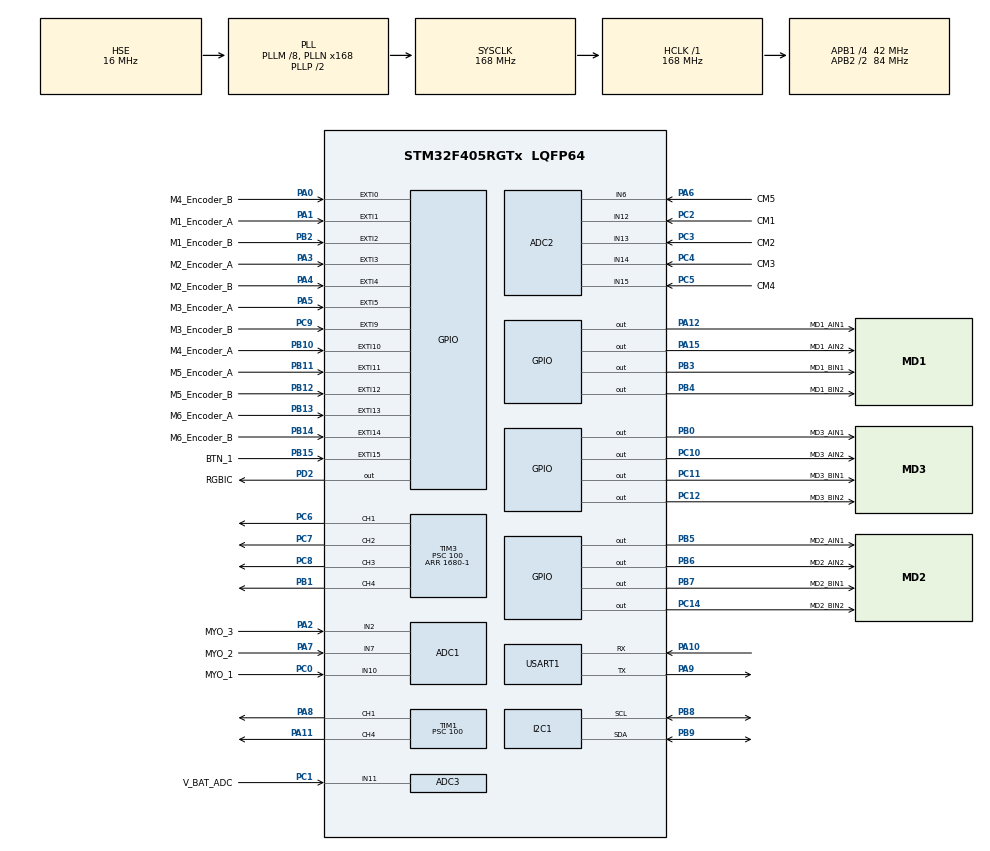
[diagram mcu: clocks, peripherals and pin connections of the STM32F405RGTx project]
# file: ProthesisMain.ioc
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ADC1.Channel-0\#ChannelRegularConversion=ADC_CHANNEL_10
ADC1.NbrOfConversionFlag=1
ADC1.Rank-0\#ChannelRegularConversion=1
ADC1.SamplingTime-0\#ChannelRegularConversion=ADC_SAMPLETIME_3CYCLES
ADC1.master=1
ADC2.Channel-0\#ChannelRegularConversion=ADC_CHANNEL_6
ADC2.NbrOfConversionFlag=1
ADC2.Rank-0\#ChannelRegularConversion=1
ADC2.SamplingTime-0\#ChannelRegularConversion=ADC_SAMPLETIME_3CYCLES
ADC3.Channel-1\#ChannelRegularConversion=ADC_CHANNEL_11
ADC3.NbrOfConversionFlag=1
ADC3.Rank-1\#ChannelRegularConversion=1
ADC3.SamplingTime-1\#ChannelRegularConversion=ADC_SAMPLETIME_3CYCLES
I2C1.I2C_Mode=I2C_Fast
Mcu.Family=STM32F4
Mcu.Name=STM32F405RGTx
Mcu.Package=LQFP64
NVIC.EXTI0_IRQn=true\:0\:0\:false\:false\:true\:true\:true\:true
NVIC.EXTI15_10_IRQn=true\:0\:0\:false\:false\:true\:true\:true\:true
NVIC.EXTI1_IRQn=true\:0\:0\:false\:false\:true\:true\:true\:true
NVIC.EXTI2_IRQn=true\:0\:0\:false\:false\:true\:true\:true\:true
NVIC.EXTI3_IRQn=true\:0\:0\:false\:false\:true\:true\:true\:true
NVIC.EXTI4_IRQn=true\:0\:0\:false\:false\:true\:true\:true\:true
NVIC.EXTI9_5_IRQn=true\:0\:0\:false\:false\:true\:true\:true\:true
NVIC.PriorityGroup=NVIC_PRIORITYGROUP_4
NVIC.USART1_IRQn=true\:0\:0\:false\:false\:true\:true\:true\:true
PA0-WKUP.GPIO_Label=M4_Encoder_B
PA0-WKUP.GPIO_ModeDefaultEXTI=GPIO_MODE_IT_RISING_FALLING
PA0-WKUP.GPIO_PuPd=GPIO_PULLDOWN
PA0-WKUP.Signal=GPXTI0
PA1.GPIO_Label=M1_Encoder_A
PA1.GPIO_ModeDefaultEXTI=GPIO_MODE_IT_RISING_FALLING
PA1.GPIO_PuPd=GPIO_PULLDOWN
PA1.Signal=GPXTI1
PA10.GPIO_Speed=GPIO_SPEED_FREQ_LOW
PA10.Mode=Asynchronous
PA10.Signal=USART1_RX
PA11.Signal=S_TIM1_CH4
PA12.GPIO_Label=MD1_AIN1
PA12.Signal=GPIO_Output
PA13.Mode=Serial_Wire
PA13.Signal=SYS_JTMS-SWDIO
PA14.Mode=Serial_Wire
PA14.Signal=SYS_JTCK-SWCLK
PA15.GPIO_Label=MD1_AIN2
PA15.Signal=GPIO_Output
PA2.GPIO_Label=MYO_3
PA2.Signal=SharedAnalog_PA2
PA3.GPIO_Label=M2_Encoder_A
PA3.GPIO_ModeDefaultEXTI=GPIO_MODE_IT_RISING_FALLING
PA3.GPIO_PuPd=GPIO_PULLDOWN
PA3.Signal=GPXTI3
PA4.GPIO_Label=M2_Encoder_B
PA4.GPIO_ModeDefaultEXTI=GPIO_MODE_IT_RISING_FALLING
PA4.GPIO_PuPd=GPIO_PULLDOWN
PA4.Signal=GPXTI4
PA5.GPIO_Label=M3_Encoder_A
PA5.GPIO_ModeDefaultEXTI=GPIO_MODE_IT_RISING_FALLING
PA5.GPIO_PuPd=GPIO_PULLDOWN
PA5.Signal=GPXTI5
PA6.GPIO_Label=CM5
PA6.Signal=SharedAnalog_PA6
PA7.GPIO_Label=MYO_2
PA7.Signal=SharedAnalog_PA7
PA8.Signal=S_TIM1_CH1
PA9.GPIO_PuPd=GPIO_NOPULL
PA9.GPIO_Speed=GPIO_SPEED_FREQ_LOW
PA9.Mode=Asynchronous
PA9.Signal=USART1_TX
PB0.GPIO_Label=MD3_AIN1
PB0.Signal=GPIO_Output
PB1.Signal=S_TIM3_CH4
PB10.GPIO_Label=M4_Encoder_A
PB10.GPIO_ModeDefaultEXTI=GPIO_MODE_IT_RISING_FALLING
PB10.GPIO_PuPd=GPIO_PULLDOWN
PB10.Signal=GPXTI10
PB11.GPIO_Label=M5_Encoder_A
PB11.GPIO_ModeDefaultEXTI=GPIO_MODE_IT_RISING_FALLING
PB11.GPIO_PuPd=GPIO_PULLDOWN
PB11.Signal=GPXTI11
PB12.GPIO_Label=M5_Encoder_B
PB12.GPIO_ModeDefaultEXTI=GPIO_MODE_IT_RISING_FALLING
PB12.GPIO_PuPd=GPIO_PULLDOWN
PB12.Signal=GPXTI12
PB13.GPIO_Label=M6_Encoder_A
PB13.GPIO_ModeDefaultEXTI=GPIO_MODE_IT_RISING_FALLING
PB13.GPIO_PuPd=GPIO_PULLDOWN
PB13.Signal=GPXTI13
PB14.GPIO_Label=M6_Encoder_B
PB14.GPIO_ModeDefaultEXTI=GPIO_MODE_IT_RISING_FALLING
PB14.GPIO_PuPd=GPIO_PULLDOWN
PB14.Signal=GPXTI14
PB15.GPIO_Label=BTN_1
PB15.GPIO_PuPd=GPIO_PULLDOWN
PB15.Signal=GPXTI15
PB2.GPIO_Label=M1_Encoder_B
PB2.GPIO_ModeDefaultEXTI=GPIO_MODE_IT_RISING_FALLING
PB2.GPIO_PuPd=GPIO_PULLDOWN
PB2.Signal=GPXTI2
PB3.GPIO_Label=MD1_BIN1
PB3.Signal=GPIO_Output
PB4.GPIO_Label=MD1_BIN2
PB4.Signal=GPIO_Output
PB5.GPIO_Label=MD2_AIN1
PB5.Signal=GPIO_Output
PB6.GPIO_Label=MD2_AIN2
PB6.Signal=GPIO_Output
PB7.GPIO_Label=MD2_BIN1
PB7.Signal=GPIO_Output
PB8.Mode=I2C
PB8.Signal=I2C1_SCL
PB9.Mode=I2C
PB9.Signal=I2C1_SDA
PC0.GPIO_Label=MYO_1
PC0.Signal=SharedAnalog_PC0
PC1.GPIO_Label=V_BAT_ADC
PC1.Signal=SharedAnalog_PC1
PC10.GPIO_Label=MD3_AIN2
PC10.GPIO_ModeDefaultOutputPP=GPIO_MODE_OUTPUT_PP
PC10.GPIO_PuPd=GPIO_NOPULL
PC10.Signal=GPIO_Output
PC11.GPIO_Label=MD3_BIN1
PC11.Signal=GPIO_Output
PC12.GPIO_Label=MD3_BIN2
PC12.Signal=GPIO_Output
PC14-OSC32_IN.GPIO_Label=MD2_BIN2
PC14-OSC32_IN.Signal=GPIO_Output
PC2.GPIO_Label=CM1
PC2.Signal=SharedAnalog_PC2
PC3.GPIO_Label=CM2
PC3.Signal=SharedAnalog_PC3
PC4.GPIO_Label=CM3
PC4.Signal=SharedAnalog_PC4
PC5.GPIO_Label=CM4
PC5.Signal=SharedAnalog_PC5
PC6.Signal=S_TIM3_CH1
PC7.Signal=S_TIM3_CH2
PC8.Signal=S_TIM3_CH3
PC9.GPIO_Label=M3_Encoder_B
PC9.GPIO_ModeDefaultEXTI=GPIO_MODE_IT_RISING_FALLING
PC9.GPIO_PuPd=GPIO_PULLDOWN
PC9.Signal=GPXTI9
PD2.GPIO_Label=RGBIC
PD2.Signal=GPIO_Output
PH0-OSC_IN.Mode=HSE-External-Oscillator
PH0-OSC_IN.Signal=RCC_OSC_IN
PH1-OSC_OUT.Mode=HSE-External-Oscillator
PH1-OSC_OUT.Signal=RCC_OSC_OUT
ProjectManager.HeapSize=0x800
ProjectManager.StackSize=0x800
ProjectManager.TargetToolchain=STM32CubeIDE
RCC.48MHZClocksFreq_Value=84000000
RCC.AHBFreq_Value=168000000
RCC.APB1CLKDivider=RCC_HCLK_DIV4
RCC.APB1Freq_Value=42000000
RCC.APB1TimFreq_Value=84000000
RCC.APB2CLKDivider=RCC_HCLK_DIV2
RCC.APB2Freq_Value=84000000
RCC.APB2TimFreq_Value=168000000
RCC.CortexFreq_Value=168000000
RCC.HCLKFreq_Value=168000000
RCC.HSE_VALUE=16000000
RCC.HSI_VALUE=16000000
RCC.LSE_VALUE=32768
RCC.PLLM=8
RCC.PLLN=168
RCC.PLLSourceVirtual=RCC_PLLSOURCE_HSE
RCC.SYSCLKFreq_VALUE=168000000
RCC.SYSCLKSource=RCC_SYSCLKSOURCE_PLLCLK
RCC.VCOOutputFreq_Value=336000000
SH.S_TIM1_CH1.0=TIM1_CH1,PWM Generation1 CH1
SH.S_TIM1_CH4.0=TIM1_CH4,PWM Generation4 CH4
SH.S_TIM3_CH1.0=TIM3_CH1,PWM Generation1 CH1
SH.S_TIM3_CH2.0=TIM3_CH2,PWM Generation2 CH2
SH.S_TIM3_CH3.0=TIM3_CH3,PWM Generation3 CH3
SH.S_TIM3_CH4.0=TIM3_CH4,PWM Generation4 CH4
SH.SharedAnalog_PA2.0=GPIO_Analog
SH.SharedAnalog_PA2.1=ADC1_IN2,IN2
SH.SharedAnalog_PA6.0=GPIO_Analog
SH.SharedAnalog_PA6.1=ADC2_IN6,IN6
SH.SharedAnalog_PA7.0=GPIO_Analog
SH.SharedAnalog_PA7.1=ADC1_IN7,IN7
SH.SharedAnalog_PC0.0=GPIO_Analog
SH.SharedAnalog_PC0.1=ADC1_IN10,IN10
SH.SharedAnalog_PC1.0=GPIO_Analog
SH.SharedAnalog_PC1.1=ADC3_IN11,IN11
SH.SharedAnalog_PC2.0=GPIO_Analog
SH.SharedAnalog_PC2.1=ADC2_IN12,IN12
SH.SharedAnalog_PC3.0=GPIO_Analog
SH.SharedAnalog_PC3.1=ADC2_IN13,IN13
SH.SharedAnalog_PC4.0=GPIO_Analog
SH.SharedAnalog_PC4.1=ADC2_IN14,IN14
SH.SharedAnalog_PC5.0=GPIO_Analog
SH.SharedAnalog_PC5.1=ADC2_IN15,IN15
STMicroelectronics.X-CUBE-AI.9.0.0.ActivationBufferSizeList=5632
STMicroelectronics.X-CUBE-AI.9.0.0.ActivationBuffers=pool0
STMicroelectronics.X-CUBE-AI.9.0.0.ActivationNames=pool0
STMicroelectronics.X-CUBE-AI.9.0.0.ActivationSizes=AI_CNNMODEL_DATA_ACTIVATION_1_SIZE
STMicroelectronics.X-CUBE-AI.9.0.0.HeapSize=0x800
STMicroelectronics.X-CUBE-AI.9.0.0.InternalRamActivationBufferMaxSize=AI_CNNMODEL_DATA_ACTIVATIONS_SIZE
STMicroelectronics.X-CUBE-AI.9.0.0.LatestDirectoryUsed-f6d28ce9c257bc7468109f3e605cf743c20bf37e855a7209ce14f294af557aee=D\:\\
STMicroelectronics.X-CUBE-AI.9.0.0.MaximumNumberOfInputLayer=1
STMicroelectronics.X-CUBE-AI.9.0.0.MaximumNumberOfOutputLayer=1
STMicroelectronics.X-CUBE-AI.9.0.0.MaximumSizeOfInputLayer=1
STMicroelectronics.X-CUBE-AI.9.0.0.MaximumSizeOfOutputLayer=1
STMicroelectronics.X-CUBE-AI.9.0.0.ModelActualCompression-f6d28ce9c257bc7468109f3e605cf743c20bf37e855a7209ce14f294af557aee=0.0
STMicroelectronics.X-CUBE-AI.9.0.0.ModelCompression-f6d28ce9c257bc7468109f3e605cf743c20bf37e855a7209ce14f294af557aee=None
STMicroelectronics.X-CUBE-AI.9.0.0.ModelFlashOccupation-f6d28ce9c257bc7468109f3e605cf743c20bf37e855a7209ce14f294af557aee=418628
STMicroelectronics.X-CUBE-AI.9.0.0.ModelHashList=f6d28ce9c257bc7468109f3e605cf743c20bf37e855a7209ce14f294af557aee
STMicroelectronics.X-CUBE-AI.9.0.0.ModelKind-f6d28ce9c257bc7468109f3e605cf743c20bf37e855a7209ce14f294af557aee=KERAS
STMicroelectronics.X-CUBE-AI.9.0.0.ModelMacc-f6d28ce9c257bc7468109f3e605cf743c20bf37e855a7209ce14f294af557aee=380256
STMicroelectronics.X-CUBE-AI.9.0.0.ModelName-f6d28ce9c257bc7468109f3e605cf743c20bf37e855a7209ce14f294af557aee=cnn
STMicroelectronics.X-CUBE-AI.9.0.0.ModelNameList=cnn
STMicroelectronics.X-CUBE-AI.9.0.0.ModelRamOccupation-f6d28ce9c257bc7468109f3e605cf743c20bf37e855a7209ce14f294af557aee=12096
STMicroelectronics.X-CUBE-AI.9.0.0.ModelStructureFile-f6d28ce9c257bc7468109f3e605cf743c20bf37e855a7209ce14f294af557aee=D\:\\CNN_quantized-final-version-300ms_50ms_step.tflite
STMicroelectronics.X-CUBE-AI.9.0.0.ModelType-f6d28ce9c257bc7468109f3e605cf743c20bf37e855a7209ce14f294af557aee=STM32Cube.AI MCU runtime
STMicroelectronics.X-CUBE-AI.9.0.0.ReadyForCodeGeneration=false
STMicroelectronics.X-CUBE-AI.9.0.0.StackSize=0x800
STMicroelectronics.X-CUBE-AI.9.0.0.ValidationInputFile-f6d28ce9c257bc7468109f3e605cf743c20bf37e855a7209ce14f294af557aee=D\:\\test_ai.csv
STMicroelectronics.X-CUBE-AI.9.0.0.ValidationInputFileHistory-f6d28ce9c257bc7468109f3e605cf743c20bf37e855a7209ce14f294af557aee=D\:\\test_ai.csv
STMicroelectronics.X-CUBE-AI.9.0.0.XAaCUBEAaAICcArtificialOoIntelligenceJjCore=true
STMicroelectronics.X-CUBE-AI.9.0.0.copyWeightToRam=false
STMicroelectronics.X-CUBE-AI.9.0.0.customLayerConfigEnabled=false
STMicroelectronics.X-CUBE-AI.9.0.0.noOnnxIoTranspose=false
STMicroelectronics.X-CUBE-AI.9.0.0.optimization=time
STMicroelectronics.X-CUBE-AI.9.0.0.useInputAllocation=true
STMicroelectronics.X-CUBE-AI.9.0.0.useOutputAllocation=true
TIM1.Channel-PWM\ Generation1\ CH1=TIM_CHANNEL_1
TIM1.Channel-PWM\ Generation4\ CH4=TIM_CHANNEL_4
TIM1.Period=1680-1
TIM1.Prescaler=100
TIM14.Prescaler=168-1
TIM3.Channel-PWM\ Generation1\ CH1=TIM_CHANNEL_1
TIM3.Channel-PWM\ Generation2\ CH2=TIM_CHANNEL_2
TIM3.Channel-PWM\ Generation3\ CH3=TIM_CHANNEL_3
TIM3.Channel-PWM\ Generation4\ CH4=TIM_CHANNEL_4
TIM3.Period=1680-1
TIM3.Prescaler=100
USART1.VirtualMode=VM_ASYNC
VP_STMicroelectronics.X-CUBE-AI_VS_ArtificialOoIntelligenceJjXAaCUBEAaAI_9.0.0.Mode=ArtificialOoIntelligenceJjXAaCUBEAaAI
VP_TIM14_VS_ClockSourceINT.Mode=Enable_Timer
VP_TIM1_VS_ClockSourceINT.Mode=Internal
VP_TIM3_VS_ClockSourceINT.Mode=Internal
board=custom

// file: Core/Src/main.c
/* USER CODE BEGIN Header */
/**
  ******************************************************************************
  * @file           : main.c
  * @brief          : Main program body
  ******************************************************************************
  * @attention
  *
  * Copyright (c) 2024 STMicroelectronics.
  * All rights reserved.
  *
  * This software is licensed under terms that can be found in the LICENSE file
  * in the root directory of this software component.
  * If no LICENSE file comes with this software, it is provided AS-IS.
  *
  ******************************************************************************
  */
/* USER CODE END Header */
#include "main.h"
#include "adc.h"
#include "i2c.h"
#include "tim.h"
#include "usart.h"
#include "gpio.h"

/* USER CODE BEGIN Includes */

//Includes for OLED screen
#include "fonts.h"
#include "ssd1306.h"
#include <stdio.h>
#include <string.h>

// Includes for switchcase
#include "stm32f4xx_hal.h"

// Includes for ENCODER
#include <stdbool.h>
#include <stdint.h>

// PID
#include <math.h>

/*
// Includes for ML
#include <stdio.h>
#include "ai_datatypes_defines.h"
#include "ai_platform.h"
#include "cnnmodel.h"
#include "cnnmodel_data.h"
#include "stm32f4xx_hal_tim.h"
*/

/* USER CODE END Includes */

/* USER CODE BEGIN PTD */

// Enum to define gesture types
typedef enum {
    GESTURE_REST,
    GESTURE_THUMB_UP,
    GESTURE_FIST,
    GESTURE_POINTING,
    GESTURE_TRIPOD,
    GESTURE_PINCH
} Gesture_t;

//Function for main switch case
void ControlMotors(Gesture_t gesture);
Gesture_t getNextGesture(Gesture_t currentGesture);
Gesture_t readButtonAndDetermineGesture(void);

// Explicitly set to REST position at startup
Gesture_t lastGesture = GESTURE_REST; // Keep track of the last non-REST gesture
Gesture_t currentGesture = GESTURE_REST; // Current gesture state

/* USER CODE END PTD */

/* USER CODE BEGIN PV */

// PID variables

	//PID M1
	volatile int lastA_M1 = 0;
	volatile int lastB_M1 = 0;
	volatile int32_t encoder_count_M1 = 0;
	volatile int32_t target_position_M1 = 0;
	float Kp_M1 = 1.0, Ki_M1 = 0.1, Kd_M1 = 0.01;
	float integral_M1 = 0, previous_error_M1 = 0;
	// END M1 variable
	char END_msg_M1[10];
	//PID M2
	volatile int lastA_M2 = 0;
	volatile int lastB_M2 = 0;
	volatile int32_t encoder_count_M2 = 0;
	volatile int32_t target_position_M2 = 0;
	float Kp_M2 = 1.0, Ki_M2 = 0.1, Kd_M2 = 0.01;
	float integral_M2 = 0, previous_error_M2 = 0;
	// END M2 variable
	char END_msg_M2[10];

	//PID M3
	volatile int lastA_M3 = 0;
	volatile int lastB_M3 = 0;
	volatile int32_t encoder_count_M3 = 0;
	volatile int32_t target_position_M3 = 0;
	float Kp_M3 = 1.0, Ki_M3 = 0.1, Kd_M3 = 0.01;
	float integral_M3 = 0, previous_error_M3 = 0;
	// END M3 variable
	char END_msg_M3[10];

	//PID M4
	volatile int lastA_M4 = 0;
	volatile int lastB_M4 = 0;
	volatile int32_t encoder_count_M4 = 0;
	volatile int32_t target_position_M4 = 0;
	float Kp_M4 = 1.0, Ki_M4 = 0.1, Kd_M4 = 0.01;
	float integral_M4 = 0, previous_error_M4 = 0;
	// END M4 variable
	char END_msg_M4[10];

	//PID M5
	volatile int lastA_M5 = 0;
	volatile int lastB_M5 = 0;
	volatile int32_t encoder_count_M5 = 0;
	volatile int32_t target_position_M5 = 0;
	float Kp_M5 = 1.0, Ki_M5 = 0.1, Kd_M5 = 0.01;
	float integral_M5 = 0, previous_error_M5 = 0;
	// END M2 variable
	char END_msg_M5[10];

	//PID M6
	volatile int lastA_M6 = 0;
	volatile int lastB_M6 = 0;
	volatile int32_t encoder_count_M6 = 0;
	volatile int32_t target_position_M6 = 0;
	float Kp_M6 = 1.0, Ki_M6 = 0.1, Kd_M6 = 0.01;
	float integral_M6 = 0, previous_error_M6 = 0;
	// END M6 variable
	char END_msg_M6[10];

// VBAT variables
	uint16_t V_BAT_raw;
	char V_BAT_msg[20];
	float V_in;

/* USER CODE END PV */

void SystemClock_Config(void);

/* USER CODE BEGIN 0 */

// Forward declarations of the interrupt handlers
void HAL_GPIO_EXTI_Callback_M1(uint16_t GPIO_Pin);
void HAL_GPIO_EXTI_Callback_M2(uint16_t GPIO_Pin);
void HAL_GPIO_EXTI_Callback_M3(uint16_t GPIO_Pin);
void HAL_GPIO_EXTI_Callback_M4(uint16_t GPIO_Pin);
void HAL_GPIO_EXTI_Callback_M5(uint16_t GPIO_Pin);
void HAL_GPIO_EXTI_Callback_M6(uint16_t GPIO_Pin);

/* USER CODE END 0 */

int main(void)
{

  /* USER CODE BEGIN 1 */

	//CM1 variables test
	// Declarations
	uint32_t raw_CM1;
	float V_in_CM1;
	float current_A_CM1;
	float current_mA_CM1;
	char msg_CM1[30];
	char raw_msg_CM1[30];
	// Constants for CM1
	const float V_zero_CM1 = 1.607;  // Zero-current voltage in V (for ACS712)
	const float sensitivity_CM1 = 0.185;  // Sensitivity in V/A (for ACS712)

  /* USER CODE END 1 */

  /* MCU Configuration--------------------------------------------------------*/
  HAL_Init();

  /* Configure the system clock */
  SystemClock_Config();

  /* Initialize all configured peripherals */
  MX_GPIO_Init();
  MX_ADC1_Init();
  MX_I2C1_Init();
  MX_USART1_UART_Init();
  MX_TIM14_Init();
  MX_TIM3_Init();
  MX_TIM1_Init();
  MX_ADC2_Init();
  MX_ADC3_Init();
  /* USER CODE BEGIN 2 */

  // Start PWMs for all motors
  HAL_TIM_PWM_Start(&htim3, TIM_CHANNEL_4); // Start PWM on PB1, PWM_M1
  HAL_TIM_PWM_Start(&htim3, TIM_CHANNEL_1); // Start PWM on PC6, PWM_M2
  HAL_TIM_PWM_Start(&htim3, TIM_CHANNEL_2); // Start PWM on PC7, PWM_M3
  HAL_TIM_PWM_Start(&htim3, TIM_CHANNEL_3); // Start PWM on PC8, PWM_M4
  HAL_TIM_PWM_Start(&htim1, TIM_CHANNEL_1); // Start PWM on PA8, PWM_M5
  HAL_TIM_PWM_Start(&htim1, TIM_CHANNEL_4); // Start PWM on PA11, PWM_M6

  // Start encoder interface
  HAL_TIM_Encoder_Start(&htim3, TIM_CHANNEL_ALL);
  HAL_TIM_Encoder_Start(&htim1, TIM_CHANNEL_1);
  HAL_TIM_Encoder_Start(&htim1, TIM_CHANNEL_4);

  // OLED SCREEN
  SSD1306_Init();
  SSD1306_GotoXY (0,0);
  SSD1306_Puts ("Myoelectric", &Font_11x18, 1);
  SSD1306_GotoXY (0, 30);
  SSD1306_Puts ("Prosthesis", &Font_11x18, 1);
  SSD1306_UpdateScreen();
  HAL_Delay (1500);
  SSD1306_Clear();

  ControlMotors(currentGesture); // Ensure motors start in the REST position

   //ENCODER TEST Variables
   // Read initial states for encoders
   	   //Encoder for M1
   	   lastA_M1 = HAL_GPIO_ReadPin(GPIOA, M1_Encoder_A_Pin);
       lastB_M1 = HAL_GPIO_ReadPin(GPIOB, M1_Encoder_B_Pin);
       //Encoder for M2
       lastA_M2 = HAL_GPIO_ReadPin(GPIOA, M2_Encoder_A_Pin);
       lastB_M2 = HAL_GPIO_ReadPin(GPIOB, M2_Encoder_B_Pin);
   	   //Encoder for M3
   	   lastA_M3 = HAL_GPIO_ReadPin(GPIOA, M3_Encoder_A_Pin);
       lastB_M3 = HAL_GPIO_ReadPin(GPIOB, M3_Encoder_B_Pin);
   	   //Encoder for M4
   	   lastA_M4 = HAL_GPIO_ReadPin(GPIOA, M4_Encoder_A_Pin);
       lastB_M4 = HAL_GPIO_ReadPin(GPIOB, M4_Encoder_B_Pin);
   	   //Encoder for M5
   	   lastA_M5 = HAL_GPIO_ReadPin(GPIOA, M5_Encoder_A_Pin);
       lastB_M5 = HAL_GPIO_ReadPin(GPIOB, M5_Encoder_B_Pin);
   	   //Encoder for M6
   	   lastA_M6 = HAL_GPIO_ReadPin(GPIOA, M6_Encoder_A_Pin);
       lastB_M6 = HAL_GPIO_ReadPin(GPIOB, M6_Encoder_B_Pin);

//MotorPos variable
       int MotorPos = 0;

  /* USER CODE END 2 */

  /* Infinite loop */
  /* USER CODE BEGIN WHILE */

  while (1)
  {

// Encoder value for display:
	//M1
	char buffer_PID_M1[10];
	snprintf(buffer_PID_M1, sizeof(buffer_PID_M1), "M1: %lu", encoder_count_M1);
	//M2
	char buffer_PID_M2[10];
	snprintf(buffer_PID_M2, sizeof(buffer_PID_M2), "M2: %lu", encoder_count_M2);
	//M3
	char buffer_PID_M3[10];
	snprintf(buffer_PID_M3, sizeof(buffer_PID_M3), "M3: %lu", encoder_count_M3);
	//M4
	char buffer_PID_M4[10];
	snprintf(buffer_PID_M4, sizeof(buffer_PID_M4), "M4: %lu", encoder_count_M4);
	//M5
	char buffer_PID_M5[10];
	snprintf(buffer_PID_M5, sizeof(buffer_PID_M5), "M5: %lu", encoder_count_M5);
	//M6
	char buffer_PID_M6[10];
	snprintf(buffer_PID_M6, sizeof(buffer_PID_M6), "M6: %lu", encoder_count_M6);

    /* USER CODE END WHILE */

  }
}

void SystemClock_Config(void)
{
  RCC_OscInitTypeDef RCC_OscInitStruct = {0};
  RCC_ClkInitTypeDef RCC_ClkInitStruct = {0};

  /** Configure the main internal regulator output voltage
  */
  __HAL_RCC_PWR_CLK_ENABLE();
  __HAL_PWR_VOLTAGESCALING_CONFIG(PWR_REGULATOR_VOLTAGE_SCALE1);

  /** Initializes the RCC Oscillators according to the specified parameters
  * in the RCC_OscInitTypeDef structure.
  */
  RCC_OscInitStruct.OscillatorType = RCC_OSCILLATORTYPE_HSE;
  RCC_OscInitStruct.HSEState = RCC_HSE_ON;
  RCC_OscInitStruct.PLL.PLLState = RCC_PLL_ON;
  RCC_OscInitStruct.PLL.PLLSource = RCC_PLLSOURCE_HSE;
  RCC_OscInitStruct.PLL.PLLM = 8;
  RCC_OscInitStruct.PLL.PLLN = 168;
  RCC_OscInitStruct.PLL.PLLP = RCC_PLLP_DIV2;
  RCC_OscInitStruct.PLL.PLLQ = 4;
  if (HAL_RCC_OscConfig(&RCC_OscInitStruct) != HAL_OK)
  {
    Error_Handler();
  }

  /** Initializes the CPU, AHB and APB buses clocks
  */
  RCC_ClkInitStruct.ClockType = RCC_CLOCKTYPE_HCLK|RCC_CLOCKTYPE_SYSCLK
                              |RCC_CLOCKTYPE_PCLK1|RCC_CLOCKTYPE_PCLK2;
  RCC_ClkInitStruct.SYSCLKSource = RCC_SYSCLKSOURCE_PLLCLK;
  RCC_ClkInitStruct.AHBCLKDivider = RCC_SYSCLK_DIV1;
  RCC_ClkInitStruct.APB1CLKDivider = RCC_HCLK_DIV4;
  RCC_ClkInitStruct.APB2CLKDivider = RCC_HCLK_DIV2;

  if (HAL_RCC_ClockConfig(&RCC_ClkInitStruct, FLASH_LATENCY_5) != HAL_OK)
  {
    Error_Handler();
  }
}

/* USER CODE BEGIN 4 */

//PRINT TO OLED
void PrintToScreen(void){
SSD1306_GotoXY(0, 0);
SSD1306_Puts(V_BAT_msg, &Font_11x18, 1);
SSD1306_GotoXY(0, 30);
//SSD1306_Puts(encoder_count_M1, &Font_11x18, 1); //buffer_PID_M1
SSD1306_UpdateScreen();
HAL_Delay(100);  // Consider reducing this delay or adjusting as needed for real-time control
SSD1306_Clear();
}

// Next gesture switch case
Gesture_t getNextGesture(Gesture_t currentGesture) {
    switch (currentGesture) {
        case GESTURE_REST:
            if (lastGesture == GESTURE_PINCH) { // Check what was the last non-REST gesture
                return GESTURE_THUMB_UP; // Start cycle anew after PINCH
            } else {
                // Determine the next gesture based on the last one
                switch (lastGesture) {
                    case GESTURE_THUMB_UP:
                        return GESTURE_FIST;
                    case GESTURE_FIST:
                        return GESTURE_POINTING;
                    case GESTURE_POINTING:
                        return GESTURE_TRIPOD;
                    case GESTURE_TRIPOD:
                        return GESTURE_PINCH;
                    default:
                        return GESTURE_THUMB_UP; // Default to start of sequence if unsure
                }
            }
        default:
            return GESTURE_REST; // Default to REST after any gesture
    }
}

Gesture_t readButtonAndDetermineGesture(void) {
    static uint32_t lastButtonPressTime = 0;
    if (HAL_GPIO_ReadPin(GPIOB, BTN_1_Pin) == GPIO_PIN_SET && HAL_GetTick() - lastButtonPressTime > 200) {
        lastButtonPressTime = HAL_GetTick();
        return getNextGesture(currentGesture); // Update the current gesture
    }
    return currentGesture; // Return the current gesture if no button press is detected
}

// Motor Control Function
void ControlMotors(Gesture_t gesture) {
    switch (gesture) {
        case GESTURE_REST:
            // Code to set motors to rest position
            SetMotorPosition(0, 0, 0); // Thumb motor, M1
            SetMotorPosition(1, 0, 0); // Ring finger motor, M2
            SetMotorPosition(2, 0, 0); // Middle finger motor, M3
            SetMotorPosition(3, 0, 0); // Index finger motor, M4
            SetMotorPosition(4, 0, 0); // Pinky, M5
            SetMotorPosition(5, 0, 0); // Thumb rotation, M6

            //DISPLAY
            SSD1306_GotoXY(0, 30);
            SSD1306_Puts("Rest", &Font_11x18, 1);
            SSD1306_UpdateScreen();
            HAL_Delay(2000);
            SSD1306_Clear();
            break;

        case GESTURE_THUMB_UP:
            // Code for Thumb Up gesture
            SetMotorPosition(0, 0, 0); // Thumb motor, M1
            SetMotorPosition(1, 1, 5000); // Ring finger motor, M2
            SetMotorPosition(2, 1, 5000); // Middle finger motor, M3
            SetMotorPosition(3, 1, 5000); // Index finger motor, M4
            SetMotorPosition(4, 1, 5000); // Pinky motor, M5
            SetMotorPosition(5, 0, 0); // Thumb rotation, M6

            //DISPLAY
            SSD1306_GotoXY(0, 30);
            SSD1306_Puts("Thumb up", &Font_11x18, 1);
            SSD1306_UpdateScreen();
            HAL_Delay(2000);
            SSD1306_Clear();
            break;

        case GESTURE_FIST:
            // Code for Fist gesture
            SetMotorPosition(0, 1, 5000); // Thumb motor, M1
            SetMotorPosition(1, 1, 5000); // Ring finger motor, M2
            SetMotorPosition(2, 1, 5000); // Middle finger motor, M3
            SetMotorPosition(3, 1, 5000); // Index finger motor, M4
            SetMotorPosition(4, 1, 5000); // Pinky motor, M5
            SetMotorPosition(5, 1, 5000); // Thumb rotation, M6

            //DISPLAY
            SSD1306_GotoXY(0, 30);
            SSD1306_Puts("Fist", &Font_11x18, 1);
            SSD1306_UpdateScreen();
            HAL_Delay(2000);
            SSD1306_Clear();
            break;

        case GESTURE_POINTING:
            // Code for Pointing gesture
            SetMotorPosition(0, 1, 5000); // Thumb motor, M1
            SetMotorPosition(1, 1, 5000); // Ring finger motor, M2
            SetMotorPosition(2, 1, 5000); // Middle finger motor, M3
            SetMotorPosition(3, 0, 0); // Index finger motor, M4
            SetMotorPosition(4, 1, 5000); // Pinky motor, M5
            SetMotorPosition(5, 1, 5000); // Thumb rotation, M6

            //DISPLAY
            SSD1306_GotoXY(0, 30);
            SSD1306_Puts("Pointing", &Font_11x18, 1);
            SSD1306_UpdateScreen();
            HAL_Delay(2000);
            SSD1306_Clear();
            break;

        case GESTURE_TRIPOD:
            // Code for Tripod gesture
            SetMotorPosition(0, 1, 2500); // Thumb motor, M1
            SetMotorPosition(1, 1, 5000); // Ring finger motor, M2
            SetMotorPosition(2, 1, 2500); // Middle finger motor, M3
            SetMotorPosition(3, 1, 2500); // Index finger motor, M4
            SetMotorPosition(4, 1, 5000); // Pinky motor, M5
            SetMotorPosition(5, 1, 2500); // Thumb rotation, M6

            //DISPLAY
            SSD1306_GotoXY(0, 30);
            SSD1306_Puts("Tripod", &Font_11x18, 1);
            SSD1306_UpdateScreen();
            HAL_Delay(2000);
            SSD1306_Clear();
            break;

        case GESTURE_PINCH:
            // Code for Pinch gesture
            SetMotorPosition(0, 1, 2500); // Thumb motor, M1
            SetMotorPosition(1, 1, 5000); // Ring finger motor, M2
            SetMotorPosition(2, 1, 5000); // Middle finger motor, M3
            SetMotorPosition(3, 1, 2500); // Index finger motor, M4
            SetMotorPosition(4, 1, 5000); // Pinky motor, M5
            SetMotorPosition(5, 1, 2500); // Thumb rotation, M6

            //DISPLAY
            SSD1306_GotoXY(0, 30);
            SSD1306_Puts("Pinch", &Font_11x18, 1);
            SSD1306_UpdateScreen();
            HAL_Delay(2000);
            SSD1306_Clear();
            break;
    }
}

Gesture_t readGesture(void)
{
    if (HAL_GPIO_ReadPin(GPIOB, BTN_1_Pin) == GPIO_PIN_SET) // Assuming active-high button
    {
        return GESTURE_THUMB_UP;
    }
    return GESTURE_REST; // No gesture detected
}

// MOTOR POSITION FUNCTION (Function to drive the motor to a given direction and position)

void SetMotorPosition(int motorID, int direction, int position) {
	  // Direction 1 is forward and 0 is backward
	      switch (motorID) {
	          case 0:  //THUMB MOTOR 1 = M1
	              if (direction == 1) {  // Forward
	                  HAL_GPIO_WritePin(GPIOB, GPIO_PIN_0, GPIO_PIN_SET);   // MD3_AIN1(PB0) = High
	                  HAL_GPIO_WritePin(GPIOB, GPIO_PIN_10, GPIO_PIN_RESET); // MD3_AIN2(PB10) = Low
	              } else {  // Backward
	                  HAL_GPIO_WritePin(GPIOB, GPIO_PIN_0, GPIO_PIN_RESET); // MD3_AIN1(PB0) = Low
	                  HAL_GPIO_WritePin(GPIOB, GPIO_PIN_10, GPIO_PIN_SET);   // MD3_AIN2(PB10) = High
	              }
	            	  updatePID_M1(position);
	              }
	              break;

	          case 1:  // RING FINGER = M2
	              if (direction == 1) {  // Forward
	                  HAL_GPIO_WritePin(GPIOB, GPIO_PIN_3, GPIO_PIN_SET);   // MD1_BIN1(PB3) = High
	                  HAL_GPIO_WritePin(GPIOB, GPIO_PIN_4, GPIO_PIN_RESET); // MD1_BIN2(PB4) = Low
	              } else {  // Backward
	                  HAL_GPIO_WritePin(GPIOB, GPIO_PIN_3, GPIO_PIN_RESET); // MD1_BIN1(PB3) = Low
	                  HAL_GPIO_WritePin(GPIOB, GPIO_PIN_4, GPIO_PIN_SET);   // MD1_BIN2(PB4) = High
	              }
	              break;

	          case 2:  // MIDDLE FINGER = M3
	              if (direction == 1) {  // Forward
	                  HAL_GPIO_WritePin(GPIOB, GPIO_PIN_5, GPIO_PIN_SET);   // MD2_AIN1(PB5) = High
	                  HAL_GPIO_WritePin(GPIOB, GPIO_PIN_6, GPIO_PIN_RESET); // MD2_AIN2(PB6) = Low
	              } else {  // Backward
	                  HAL_GPIO_WritePin(GPIOB, GPIO_PIN_5, GPIO_PIN_RESET); // MD2_AIN1(PB5) = Low
	                  HAL_GPIO_WritePin(GPIOB, GPIO_PIN_6, GPIO_PIN_SET);   // MD2_AIN2(PB6) = High
	              }
	              break;

	          case 3:  // INDEX FINGER = M4
	              if (direction == 1) {  // Forward
	                  HAL_GPIO_WritePin(GPIOB, GPIO_PIN_7, GPIO_PIN_SET);   // MD2_BIN1(PB7) = High
	                  HAL_GPIO_WritePin(GPIOC, GPIO_PIN_14, GPIO_PIN_RESET); // MD2_BIN2(PC14) = Low
	              } else {  // Backward
	                  HAL_GPIO_WritePin(GPIOB, GPIO_PIN_7, GPIO_PIN_RESET); // MD2_BIN1(PB7) = Low
	                  HAL_GPIO_WritePin(GPIOC, GPIO_PIN_14, GPIO_PIN_SET);   // MD2_BIN2(PC14) = High
	              }
	              break;

	          case 4: //PINKY = M5
	              if (direction == 1) {  // Forward
	                  HAL_GPIO_WritePin(GPIOA, GPIO_PIN_12, GPIO_PIN_SET);   // MD1_AIN1(PA12) = High
	                  HAL_GPIO_WritePin(GPIOA, GPIO_PIN_15, GPIO_PIN_RESET); // MD1_AIN2(PA15) = Low
	              } else {  // Backward
	                  HAL_GPIO_WritePin(GPIOA, GPIO_PIN_12, GPIO_PIN_RESET); // MD1_AIN1(PA12) = Low
	                  HAL_GPIO_WritePin(GPIOA, GPIO_PIN_15, GPIO_PIN_SET);   // MD1_AIN2(PA15) = High
	              }
	              break;

	          case 5:  // THUMB rotation = M6
	              if (direction == 1) {  // Forward
	                  HAL_GPIO_WritePin(GPIOC, GPIO_PIN_11, GPIO_PIN_SET);   // MD3_BIN1(PC11) = High
	                  HAL_GPIO_WritePin(GPIOC, GPIO_PIN_12, GPIO_PIN_RESET); // MD3_BIN2(PC12) = Low
	              } else {  // Backward
	                  HAL_GPIO_WritePin(GPIOC, GPIO_PIN_11, GPIO_PIN_RESET); // MD3_BIN1(PC11) = Low
	                  HAL_GPIO_WritePin(GPIOC, GPIO_PIN_12, GPIO_PIN_SET);   // MD3_BIN2(PC12) = High
	              }
	              break;
	      }
}
//PID FUNCTIONS
	  // PID Function M1
	  void updatePID_M1(void)
	  {
	      float error_M1 = target_position_M1 - encoder_count_M1;
	      integral_M1 += error_M1 * 0.01;  // Assume update rate is 0.01 seconds for integral calculation
	      float derivative_M1 = (error_M1 - previous_error_M1) / 0.01;
	      float output_M1 = Kp_M1 * error_M1 + Ki_M1 * integral_M1 + Kd_M1 * derivative_M1;

	      previous_error_M1 = error_M1;

	      // Convert PID output to PWM duty cycle
	      if (output_M1 < 0) {
	          HAL_GPIO_WritePin(GPIOA, MD1_AIN1_Pin, GPIO_PIN_SET);
	          HAL_GPIO_WritePin(GPIOA, MD1_AIN2_Pin, GPIO_PIN_RESET);
	          output_M1 = -output_M1;
	      } else {
	          HAL_GPIO_WritePin(GPIOA, MD1_AIN1_Pin, GPIO_PIN_RESET);
	          HAL_GPIO_WritePin(GPIOA, MD1_AIN2_Pin, GPIO_PIN_SET);
	      }

	      output_M1 = fmin(output_M1, 1500); // Limit output to max PWM value
	      __HAL_TIM_SET_COMPARE(&htim3,TIM_CHANNEL_4, 200);
	  }
	  // PID Function M2
	  void updatePID_M2(void)
	  {
	      float error_M2 = target_position_M2 - encoder_count_M2;
	      integral_M2 += error_M2 * 0.01;  // Assume update rate is 0.01 seconds for integral calculation
	      float derivative_M2 = (error_M2 - previous_error_M2) / 0.01;
	      float output_M2 = Kp_M2 * error_M2 + Ki_M2 * integral_M2 + Kd_M2 * derivative_M2;

	      previous_error_M2 = error_M2;

	      // Convert PID output to PWM duty cycle
	      if (output_M2 < 0) {
	          HAL_GPIO_WritePin(GPIOB, MD1_BIN1_Pin, GPIO_PIN_SET);
	          HAL_GPIO_WritePin(GPIOB, MD1_BIN2_Pin, GPIO_PIN_RESET);
	          output_M2 = -output_M2;
	      } else {
	          HAL_GPIO_WritePin(GPIOB, MD1_BIN1_Pin, GPIO_PIN_RESET);
	          HAL_GPIO_WritePin(GPIOB, MD1_BIN2_Pin, GPIO_PIN_SET);
	      }

	      output_M2 = fmin(output_M2, 1500); // Limit output to max PWM value
	      __HAL_TIM_SET_COMPARE(&htim3,TIM_CHANNEL_1, 200);
	  }
	  // PID Function M3
	  void updatePID_M3(void)
	  {
	      float error_M3 = target_position_M3 - encoder_count_M3;
	      integral_M3 += error_M3 * 0.01;  // Assume update rate is 0.01 seconds for integral calculation
	      float derivative_M3 = (error_M3 - previous_error_M3) / 0.01;
	      float output_M3 = Kp_M3 * error_M3 + Ki_M3 * integral_M3 + Kd_M3 * derivative_M3;

	      previous_error_M3 = error_M3;

	      // Convert PID output to PWM duty cycle
	      if (output_M3 < 0) {
	          HAL_GPIO_WritePin(GPIOB, MD2_AIN1_Pin, GPIO_PIN_SET);
	          HAL_GPIO_WritePin(GPIOB, MD2_AIN2_Pin, GPIO_PIN_RESET);
	          output_M3 = -output_M3;
	      } else {
	          HAL_GPIO_WritePin(GPIOB, MD2_AIN1_Pin, GPIO_PIN_RESET);
	          HAL_GPIO_WritePin(GPIOB, MD2_AIN2_Pin, GPIO_PIN_SET);
	      }

	      output_M3 = fmin(output_M3, 1500); // Limit output to max PWM value
	      __HAL_TIM_SET_COMPARE(&htim3,TIM_CHANNEL_2, 200);
	  }
	  // PID Function M4
	  void updatePID_M4(void)
	  {
	      float error_M4 = target_position_M4 - encoder_count_M4;
	      integral_M4 += error_M4 * 0.01;  // Assume update rate is 0.01 seconds for integral calculation
	      float derivative_M4 = (error_M4 - previous_error_M4) / 0.01;
	      float output_M4 = Kp_M4 * error_M4 + Ki_M4 * integral_M4 + Kd_M4 * derivative_M4;

	      previous_error_M4 = error_M4;

	      // Convert PID output to PWM duty cycle
	      if (output_M4 < 0) {
	          HAL_GPIO_WritePin(GPIOB, MD2_BIN1_Pin, GPIO_PIN_SET);
	          HAL_GPIO_WritePin(GPIOC, MD2_BIN2_Pin, GPIO_PIN_RESET);
	          output_M4 = -output_M4;
	      } else {
	          HAL_GPIO_WritePin(GPIOB, MD2_BIN1_Pin, GPIO_PIN_RESET);
	          HAL_GPIO_WritePin(GPIOC, MD2_BIN2_Pin, GPIO_PIN_SET);
	      }

	      output_M4 = fmin(output_M4, 1500); // Limit output to max PWM value
	      __HAL_TIM_SET_COMPARE(&htim3,TIM_CHANNEL_3, 200);
	  }
	  // PID Function M5
	  void updatePID_M5(void)
	  {
	      float error_M5 = target_position_M5 - encoder_count_M5;
	      integral_M5 += error_M5 * 0.01;  // Assume update rate is 0.01 seconds for integral calculation
	      float derivative_M5 = (error_M5 - previous_error_M5) / 0.01;
	      float output_M5 = Kp_M5 * error_M5 + Ki_M5 * integral_M5 + Kd_M5 * derivative_M5;

	      previous_error_M5 = error_M5;

	      // Convert PID output to PWM duty cycle
	      if (output_M5 < 0) {
	          HAL_GPIO_WritePin(GPIOB, MD3_AIN1_Pin, GPIO_PIN_SET);
	          HAL_GPIO_WritePin(GPIOC, MD3_AIN2_Pin, GPIO_PIN_RESET);
	          output_M5 = -output_M5;
	      } else {
	          HAL_GPIO_WritePin(GPIOB, MD3_AIN1_Pin, GPIO_PIN_RESET);
	          HAL_GPIO_WritePin(GPIOC, MD3_AIN2_Pin, GPIO_PIN_SET);
	      }

	      output_M5 = fmin(output_M5, 1500); // Limit output to max PWM value
	      __HAL_TIM_SET_COMPARE(&htim1,TIM_CHANNEL_1, 200);
	  }
	  // PID Function M6
	  void updatePID_M6(void)
	  {
	      float error_M6 = target_position_M6 - encoder_count_M6;
	      integral_M6 += error_M6 * 0.01;  // Assume update rate is 0.01 seconds for integral calculation
	      float derivative_M6 = (error_M6 - previous_error_M6) / 0.01;
	      float output_M6 = Kp_M6 * error_M6 + Ki_M6 * integral_M6 + Kd_M6 * derivative_M6;

	      previous_error_M6 = error_M6;

	      // Convert PID output to PWM duty cycle
	      if (output_M6 < 0) {
	          HAL_GPIO_WritePin(GPIOC, MD3_BIN1_Pin, GPIO_PIN_SET);
	          HAL_GPIO_WritePin(GPIOC, MD3_BIN2_Pin, GPIO_PIN_RESET);
	          output_M6 = -output_M6;
	      } else {
	          HAL_GPIO_WritePin(GPIOC, MD3_BIN1_Pin, GPIO_PIN_RESET);
	          HAL_GPIO_WritePin(GPIOC, MD3_BIN2_Pin, GPIO_PIN_SET);
	      }

	      output_M6 = fmin(output_M6, 1500); // Limit output to max PWM value
	      __HAL_TIM_SET_COMPARE(&htim1,TIM_CHANNEL_4, 200);
	  }

// ENCODER HANDLER

	  // Interrupt callback handler encoder M1
	  void HAL_GPIO_EXTI_Callback_M1(uint16_t GPIO_Pin) {
	      // Adjust the GPIO pins to the actual ones used for A and B
	      bool currentA_M1 = HAL_GPIO_ReadPin(GPIOA, M1_Encoder_A_Pin);
	      bool currentB_M1 = HAL_GPIO_ReadPin(GPIOB, M1_Encoder_B_Pin);

	      if (GPIO_Pin == M1_Encoder_A_Pin) {
	          if (currentA_M1 == currentB_M1) {
	          	encoder_count_M1++;
	          } else {
	          	encoder_count_M1--;
	          }
	          lastA_M1 = currentA_M1;
	      } else if (GPIO_Pin == M1_Encoder_B_Pin) {
	          if (currentA_M1 != currentB_M1) {
	          	encoder_count_M1++;
	          } else {
	          	encoder_count_M1--;
	          }
	          lastB_M1 = currentB_M1;
	      }
	  }
	  // Interrupt callback handler encoder M2
	  void HAL_GPIO_EXTI_Callback_M2(uint16_t GPIO_Pin) {
	      // Read the current state of A and B pins
	      bool currentA_M2 = HAL_GPIO_ReadPin(GPIOB, M2_Encoder_A_Pin);
	      bool currentB_M2 = HAL_GPIO_ReadPin(GPIOB, M2_Encoder_B_Pin);

	      // Check which pin triggered the interrupt
	      if (GPIO_Pin == M2_Encoder_A_Pin) {
	          // Determine direction by using the state of A and B
	          if (currentA_M2 != lastA_M2) { // Only act on changes
	              if (currentA_M2 == currentB_M2) {
	                  encoder_count_M2--;
	              } else {
	                  encoder_count_M2++;
	              }
	          }
	      } else if (GPIO_Pin == M2_Encoder_B_Pin) {
	          if (currentB_M2 != lastB_M2) { // Only act on changes
	              if (currentA_M2 != currentB_M2) {
	                  encoder_count_M2--;
	              } else {
	                  encoder_count_M2++;
	              }
	          }
	      }

	  // Interrupt callback handler encoder M3
		  	  void HAL_GPIO_EXTI_Callback_M3(uint16_t GPIO_Pin) {
		  	      // Adjust the GPIO pins to the actual ones used for A and B
		  	      bool currentA_M3 = HAL_GPIO_ReadPin(GPIOA, M3_Encoder_A_Pin);
		  	      bool currentB_M3 = HAL_GPIO_ReadPin(GPIOC, M3_Encoder_B_Pin);

		  	      if (GPIO_Pin == M3_Encoder_A_Pin) {
		  	          if (currentA_M3 == currentB_M3) {
		  	          	encoder_count_M3++;
		  	          } else {
		  	          	encoder_count_M3--;
		  	          }
		  	          lastA_M3 = currentA_M3;
		  	      } else if (GPIO_Pin == M3_Encoder_B_Pin) {
		  	          if (currentA_M3 != currentB_M3) {
		  	          	encoder_count_M3++;
		  	          } else {
		  	        	encoder_count_M3--;
		  	          }
		  	          lastB_M3 = currentB_M3;
		  	      }
		  	  }
			  // Interrupt callback handler encoder M4
			  	  void HAL_GPIO_EXTI_Callback_M4(uint16_t GPIO_Pin) {
			  	      // Adjust the GPIO pins to the actual ones used for A and B
			  	      bool currentA_M4 = HAL_GPIO_ReadPin(GPIOB, M4_Encoder_A_Pin);
			  	      bool currentB_M4 = HAL_GPIO_ReadPin(GPIOA, M4_Encoder_B_Pin);

			  	      if (GPIO_Pin == M4_Encoder_A_Pin) {
			  	          if (currentA_M4 == currentB_M4) {
			  	          	encoder_count_M4++;
			  	          } else {
			  	          	encoder_count_M4--;
			  	          }
			  	          lastA_M4 = currentA_M4;
			  	      } else if (GPIO_Pin == M4_Encoder_B_Pin) {
			  	          if (currentA_M4 != currentB_M4) {
			  	          	encoder_count_M4++;
			  	          } else {
			  	        	encoder_count_M4--;
			  	          }
			  	          lastB_M4 = currentB_M4;
			  	      }
			  	  }

					  // Interrupt callback handler encoder M6
					  	  void HAL_GPIO_EXTI_Callback_M6(uint16_t GPIO_Pin) {
					  	      // Adjust the GPIO pins to the actual ones used for A and B
					  	      bool currentA_M6 = HAL_GPIO_ReadPin(GPIOB, M6_Encoder_A_Pin);
					  	      bool currentB_M6 = HAL_GPIO_ReadPin(GPIOB, M6_Encoder_B_Pin);

					  	      if (GPIO_Pin == M6_Encoder_A_Pin) {
					  	          if (currentA_M6 == currentB_M6) {
					  	          	encoder_count_M6++;
					  	          } else {
					  	          	encoder_count_M6--;
					  	          }
					  	          lastA_M6 = currentA_M6;
					  	      } else if (GPIO_Pin == M6_Encoder_B_Pin) {
					  	          if (currentA_M6 != currentB_M6) {
					  	          	encoder_count_M6++;
					  	          } else {
					  	        	encoder_count_M6--;
					  	          }
					  	          lastB_M6 = currentB_M6;
					  	      }
					  	  }
/* USER CODE END 4 */

void Error_Handler(void) {
  __disable_irq();
  while (1)
  {
  }
}
